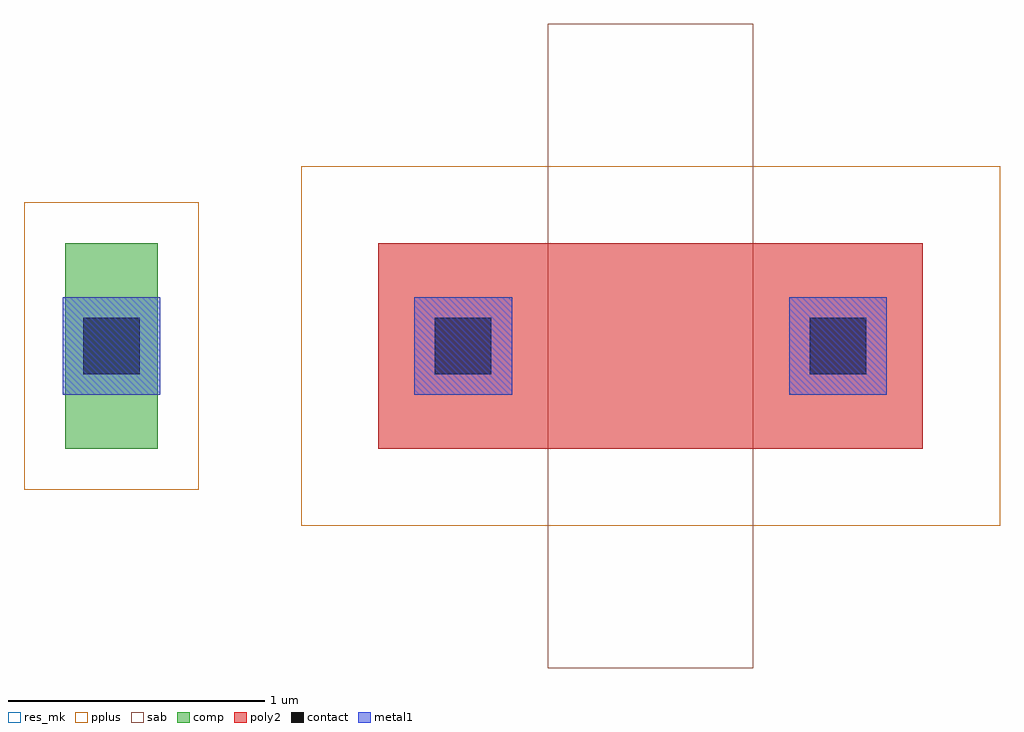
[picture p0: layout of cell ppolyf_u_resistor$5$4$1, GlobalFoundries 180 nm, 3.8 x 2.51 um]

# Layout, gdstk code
import gdstk
lib = gdstk.Library(unit=1e-6, precision=5e-09)
def R(c, l, rs):  # rectangles x0, y0, x1, y1
    for r in rs: c.add(gdstk.rectangle(r[:2], r[2:], *l))
comp = (22, 0)
poly2 = (30, 0)
pplus = (31, 0)
contact = (33, 0)
metal1 = (34, 0)
sab = (49, 0)
res_mk = (110, 5)

ppolyf_u_resistor_5_4_1 = lib.new_cell('ppolyf_u_resistor$5$4$1')
R(ppolyf_u_resistor_5_4_1, comp, [(-1.88,0,-1.52,0.8)])
R(ppolyf_u_resistor_5_4_1, poly2, [(-0.66,0,1.46,0.8)])
R(ppolyf_u_resistor_5_4_1, pplus, [(-0.96,-0.3,1.76,1.1), (-2.04,-0.16,-1.36,0.96)])
R(ppolyf_u_resistor_5_4_1, contact, [(-1.81,0.29,-1.59,0.51), (-0.44,0.29,-0.22,0.51), (1.02,0.29,1.24,0.51)])
R(ppolyf_u_resistor_5_4_1, metal1, [(-1.89,0.21,-1.51,0.59), (-0.52,0.21,-0.14,0.59), (0.94,0.21,1.32,0.59)])
R(ppolyf_u_resistor_5_4_1, sab, [(0,-0.855,0.8,1.655)])
R(ppolyf_u_resistor_5_4_1, res_mk, [(0,0,0.8,0.8)])

lib.write_gds('ppolyf_u_resistor_5_4_1.gds')
